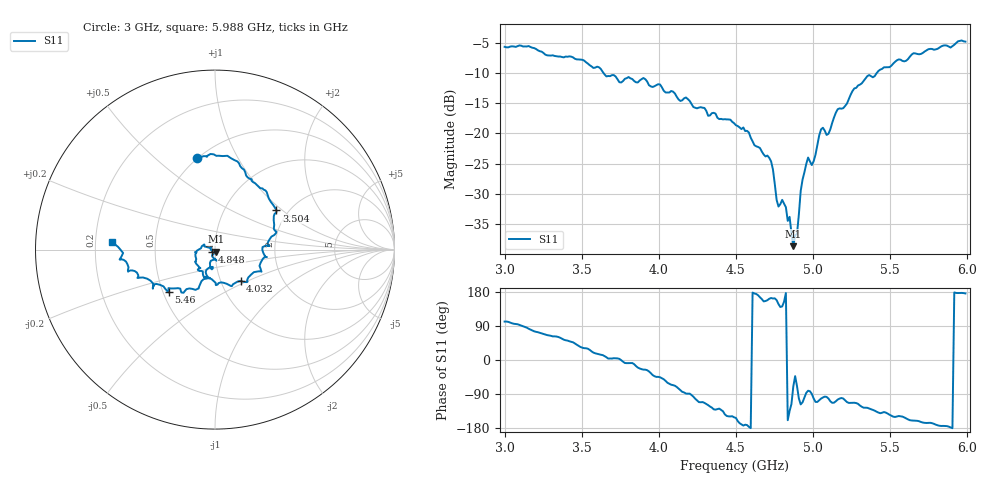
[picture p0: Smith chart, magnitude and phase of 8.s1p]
! Saved from nanovna library
# Hz S RI R 50
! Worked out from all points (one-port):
!   250 points, 3 GHz to 5.988 GHz, reference 50 ohm
!   lowest |S11| = -38.6 dB at 4.872 GHz (marker M1), VSWR 1.02, Z = 50.4 - j1.11 ohm
!   |S11| at or under -10 dB: 3.641 GHz to 5.414 GHz (1.773 GHz wide, 39.2 % of centre)
!   S11 on the Smith chart (normalised r, x): 3 GHz: 0.50, +0.69; 3.504 GHz: 1.74, +0.91; 4.032 GHz: 1.24, -0.46; 4.848 GHz: 0.97, -0.03; 5.46 GHz: 0.53, -0.29; 5.988 GHz: 0.27, +0.04
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3e9  -0.1025 0.5093
3.156e9  0.0692 0.5227
3.384e9  0.2521 0.3423
3.504e9  0.3424 0.218
3.756e9  0.2636 -0.00229
3.9e9  0.2591 -0.123
4.032e9  0.1421 -0.1745
4.128e9  0.0476 -0.1848
4.5e9  -0.1041 -0.0532
4.716e9  -0.0596 0.0199
4.74e9  -0.048 0.0153
4.776e9  -0.021 0.0134
4.8e9  -0.0221 0.0177
4.836e9  -0.0177 -0.00683
4.848e9  -0.0144 -0.0146
4.872e9  0.00397 -0.011
4.896e9  0.00536 -0.0138
4.92e9  -0.0153 -0.0297
4.932e9  -0.0153 -0.0386
4.968e9  0.00977 -0.0624
4.992e9  0.000581 -0.0548
5.052e9  -0.0221 -0.1058
5.1e9  -0.0201 -0.0972
5.16e9  -0.0395 -0.1534
5.244e9  -0.0822 -0.1921
5.46e9  -0.2586 -0.2384
5.616e9  -0.3781 -0.162
5.988e9  -0.5716 0.0441
